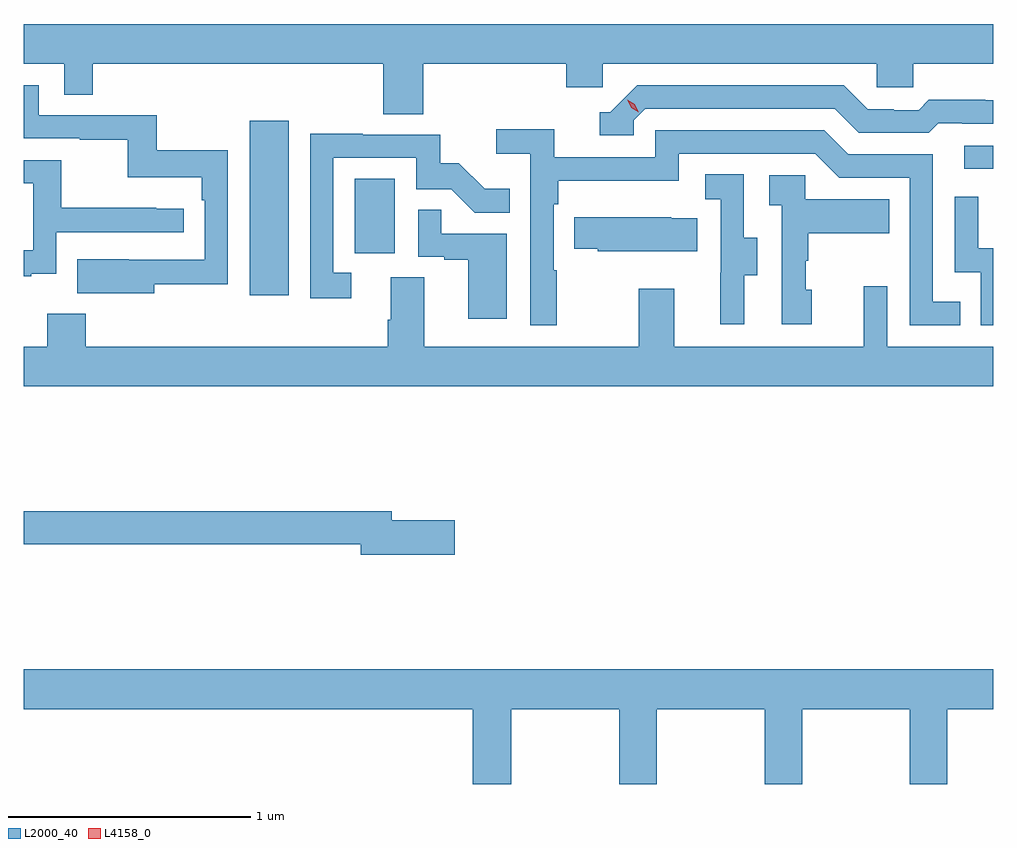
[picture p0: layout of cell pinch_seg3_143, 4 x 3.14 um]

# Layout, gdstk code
import gdstk
lib = gdstk.Library(unit=1e-6, precision=1e-09)
def R(c, l, rs):  # rectangles x0, y0, x1, y1
    for r in rs: c.add(gdstk.rectangle(r[:2], r[2:], *l))
def P(c, l, *ps):  # polygons
    for p in ps: c.add(gdstk.Polygon(p, *l))
L2000_40 = (2000, 40)
L4158_0 = (4158, 0)

pinch_seg3_143 = lib.new_cell('pinch_seg3_143')
R(pinch_seg3_143, L2000_40, [(1119.041,726.6,1119.202,727.321), (1119.476,726.774,1119.64,727.081), (1121.991,727.122,1122.11,727.218)])
P(pinch_seg3_143, L2000_40, [(1119.758,727.556),(1120.349,727.556),(1120.349,727.458),(1120.5,727.458),(1120.5,727.556),(1121.631,727.556),(1121.631,727.458),(1121.781,727.458),(1121.781,727.556),(1122.11,727.556),(1122.11,727.72),(1118.11,727.72),(1118.11,727.556),(1118.277,727.556),(1118.277,727.429),(1118.393,727.429),(1118.393,727.556),(1119.593,727.556),(1119.593,727.348),(1119.758,727.348)],
  [(1120.626,727.323),(1120.674,727.371),(1121.457,727.371),(1121.556,727.272),(1121.845,727.272),(1121.884,727.311),(1121.983,727.311),(1121.983,727.308),(1122.11,727.308),(1122.11,727.405),(1122.078,727.405),(1122.078,727.408),(1121.845,727.408),(1121.803,727.365),(1121.7,727.365),(1121.7,727.368),(1121.593,727.368),(1121.494,727.467),(1120.641,727.467),(1120.53,727.356),(1120.487,727.356),(1120.487,727.26),(1120.626,727.26)],
  [(1118.647,726.646),(1118.952,726.646),(1118.952,727.198),(1118.659,727.198),(1118.659,727.344),(1118.172,727.344),(1118.172,727.467),(1118.11,727.467),(1118.11,727.248),(1118.341,727.248),(1118.341,727.243),(1118.538,727.243),(1118.538,727.088),(1118.843,727.088),(1118.843,726.992),(1118.856,726.992),(1118.856,726.747),(1118.543,726.747),(1118.543,726.748),(1118.329,726.748),(1118.329,726.608),(1118.647,726.608)],
  [(1120.309,726.704),(1120.296,726.704),(1120.296,726.977),(1120.316,726.977),(1120.316,727.073),(1120.812,727.073),(1120.812,727.185),(1121.376,727.185),(1121.475,727.086),(1121.766,727.086),(1121.766,726.477),(1121.975,726.477),(1121.975,726.573),(1121.862,726.573),(1121.862,727.182),(1121.512,727.182),(1121.413,727.281),(1120.716,727.281),(1120.716,727.17),(1120.298,727.17),(1120.298,727.286),(1120.059,727.286),(1120.059,727.184),(1120.2,727.184),(1120.2,726.477),(1120.309,726.477)],
  [(1119.46,726.693),(1119.387,726.693),(1119.387,727.167),(1119.729,727.167),(1119.729,727.038),(1119.873,727.038),(1119.971,726.94),(1120.115,726.94),(1120.115,727.039),(1120.011,727.039),(1119.904,727.146),(1119.828,727.146),(1119.828,727.263),(1119.509,727.263),(1119.509,727.268),(1119.291,727.268),(1119.291,726.588),(1119.46,726.588)],
  [(1118.141,726.689),(1118.244,726.689),(1118.244,726.861),(1118.77,726.861),(1118.77,726.957),(1118.657,726.957),(1118.657,726.962),(1118.264,726.962),(1118.264,727.158),(1118.11,727.158),(1118.11,727.062),(1118.148,727.062),(1118.148,726.786),(1118.11,726.786),(1118.11,726.678),(1118.141,726.678)],
  [(1121.083,726.682),(1121.137,726.682),(1121.137,726.837),(1121.082,726.837),(1121.082,727.1),(1120.923,727.1),(1120.923,726.997),(1120.986,726.997),(1120.986,726.693),(1120.985,726.693),(1120.985,726.48),(1121.083,726.48)],
  [(1121.362,726.624),(1121.337,726.624),(1121.337,726.743),(1121.347,726.743),(1121.347,726.857),(1121.681,726.857),(1121.681,726.997),(1121.334,726.997),(1121.334,727.095),(1121.187,727.095),(1121.187,726.971),(1121.238,726.971),(1121.238,726.48),(1121.362,726.48)],
  [(1122.11,726.794),(1122.048,726.794),(1122.048,727.006),(1121.952,727.006),(1121.952,726.696),(1122.06,726.696),(1122.06,726.477),(1122.11,726.477)],
  [(1120.102,726.855),(1119.833,726.855),(1119.833,726.953),(1119.738,726.953),(1119.738,726.759),(1119.845,726.759),(1119.845,726.747),(1119.944,726.747),(1119.944,726.504),(1120.102,726.504)],
  [(1120.889,726.919),(1120.781,726.919),(1120.781,726.922),(1120.381,726.922),(1120.381,726.793),(1120.479,726.793),(1120.479,726.782),(1120.889,726.782)],
  [(1122.11,726.388),(1121.673,726.388),(1121.673,726.637),(1121.576,726.637),(1121.576,726.388),(1120.795,726.388),(1120.795,726.628),(1120.648,726.628),(1120.648,726.388),(1119.763,726.388),(1119.763,726.674),(1119.623,726.674),(1119.623,726.5),(1119.611,726.5),(1119.611,726.388),(1118.366,726.388),(1118.366,726.523),(1118.206,726.523),(1118.206,726.388),(1118.11,726.388),(1118.11,726.224),(1122.11,726.224)],
  [(1119.889,725.672),(1119.628,725.672),(1119.628,725.708),(1118.11,725.708),(1118.11,725.572),(1119.5,725.572),(1119.5,725.53),(1119.889,725.53)],
  [(1118.11,724.892),(1119.962,724.892),(1119.962,724.583),(1120.122,724.583),(1120.122,724.892),(1120.567,724.892),(1120.567,724.583),(1120.722,724.583),(1120.722,724.892),(1121.167,724.892),(1121.167,724.583),(1121.322,724.583),(1121.322,724.892),(1121.767,724.892),(1121.767,724.583),(1121.922,724.583),(1121.922,724.892),(1122.11,724.892),(1122.11,725.056),(1118.11,725.056)])
P(pinch_seg3_143, L4158_0, [(1120.648,727.355),(1120.617,727.375),(1120.601,727.407),(1120.601,727.408),(1120.601,727.408),(1120.632,727.388),(1120.648,727.356),(1120.648,727.355)])

lib.write_gds('pinch_seg3_143.gds')
